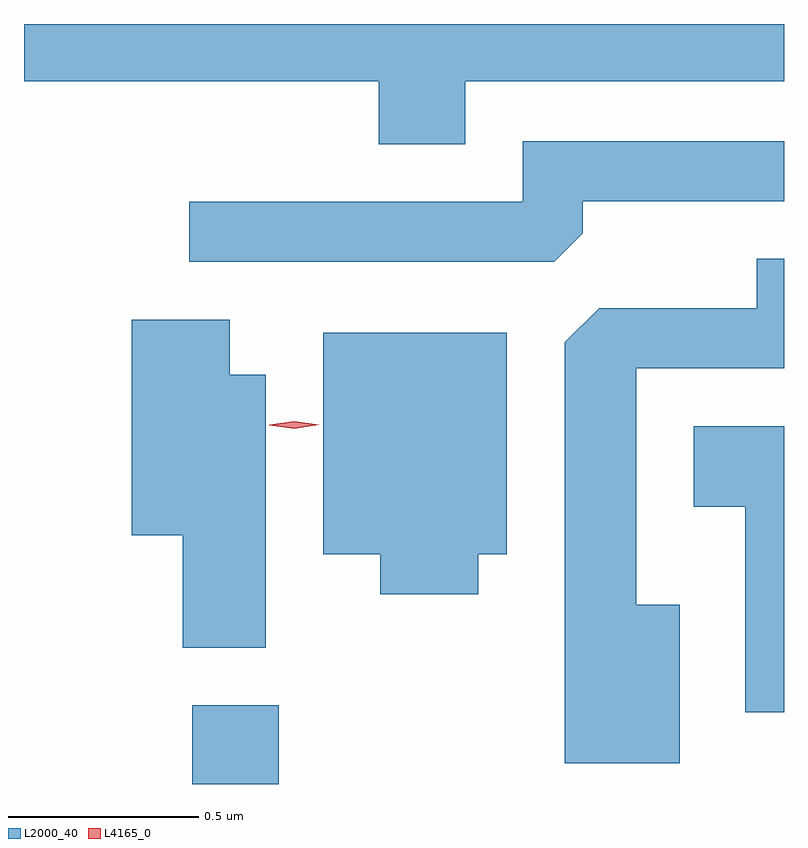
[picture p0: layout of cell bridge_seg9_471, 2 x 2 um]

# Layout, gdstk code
import gdstk
lib = gdstk.Library(unit=1e-6, precision=1e-09)
def R(c, l, rs):  # rectangles x0, y0, x1, y1
    for r in rs: c.add(gdstk.rectangle(r[:2], r[2:], *l))
def P(c, l, *ps):  # polygons
    for p in ps: c.add(gdstk.Polygon(p, *l))
L2000_40 = (2000, 40)
L4165_0 = (4165, 0)

bridge_seg9_471 = lib.new_cell('bridge_seg9_471')
R(bridge_seg9_471, L2000_40, [(365.171,2021.047,365.399,2021.254)])
P(bridge_seg9_471, L2000_40, [(365.889,2022.896),(366.728,2022.896),(366.728,2023.047),(364.728,2023.047),(364.728,2022.896),(365.661,2022.896),(365.661,2022.731),(365.889,2022.731)],
  [(366.199,2022.497),(366.199,2022.581),(366.728,2022.581),(366.728,2022.739),(366.041,2022.739),(366.041,2022.579),(365.163,2022.579),(365.163,2022.421),(366.124,2022.421)],
  [(366.454,2021.519),(366.339,2021.519),(366.339,2022.141),(366.728,2022.141),(366.728,2022.429),(366.656,2022.429),(366.656,2022.299),(366.242,2022.299),(366.151,2022.209),(366.151,2021.101),(366.454,2021.101)],
  [(365.364,2022.124),(365.269,2022.124),(365.269,2022.269),(365.011,2022.269),(365.011,2021.701),(365.146,2021.701),(365.146,2021.406),(365.364,2021.406)],
  [(365.924,2021.651),(365.999,2021.651),(365.999,2022.234),(365.516,2022.234),(365.516,2021.651),(365.666,2021.651),(365.666,2021.546),(365.924,2021.546)],
  [(366.728,2021.989),(366.491,2021.989),(366.491,2021.776),(366.626,2021.776),(366.626,2021.236),(366.728,2021.236)])
P(bridge_seg9_471, L4165_0, [(365.439,2021.982),(365.373,2021.991),(365.373,2021.991),(365.373,2021.992),(365.439,2022.002),(365.505,2021.993),(365.505,2021.992),(365.505,2021.992)])

lib.write_gds('bridge_seg9_471.gds')
